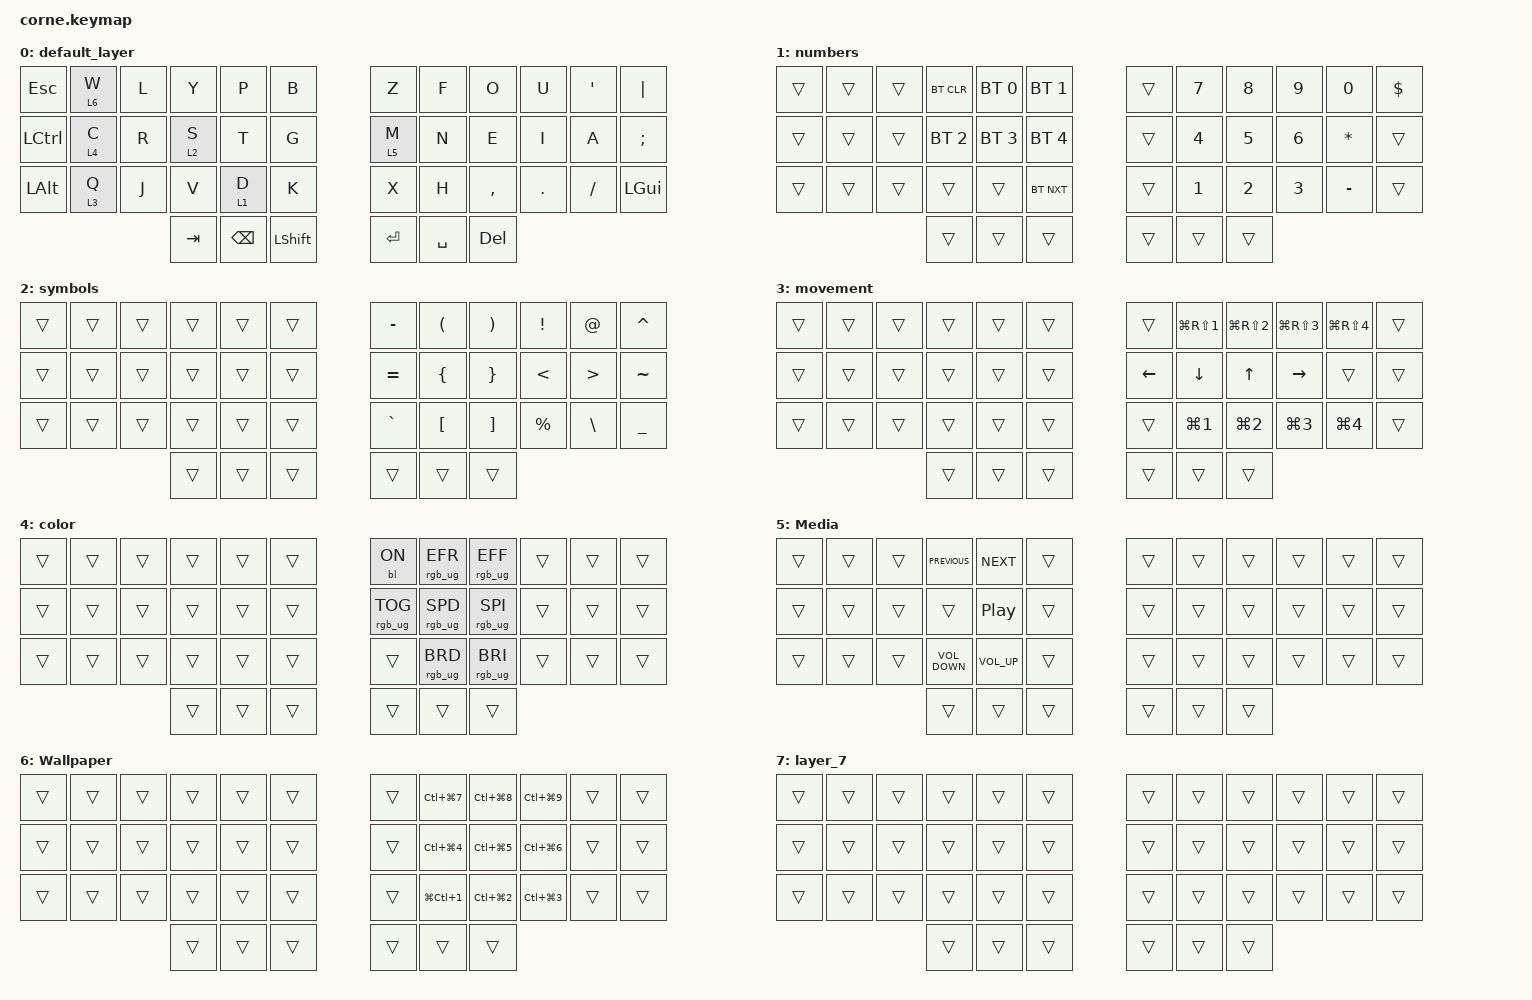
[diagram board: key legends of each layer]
/*
 * Copyright (c) 2020 The ZMK Contributors
 *
 * SPDX-License-Identifier: MIT
 */

#include <behaviors.dtsi>
#include <dt-bindings/zmk/backlight.h>
#include <dt-bindings/zmk/bt.h>
#include <dt-bindings/zmk/keys.h>
#include <dt-bindings/zmk/rgb.h>

&led_strip {
    chain-length = <27>;

    // 7 backlight + 2 glowlight
};

/ {
    keymap {
        compatible = "zmk,keymap";

        default_layer {
            // -----------------------------------------------------------------------------------------
            // |  TAB |  W  |  L  |  Y  |  P  |  B  |   |  Z  |  F   |  O  |  U  |  '  | BKSP |
            // | CTRL |  C  |  R  |  S  |  T  |  G  |   |  M  |  N   |  E  |  I  |  A  |  ;   |
            // | SHFT |  Q  |  J  |  V  |  D  |  K  |   |  X  |  H   |  ,  |  .  |  /  | ESC  |
            //                    | LWR | DEL | GUI |   | ENT | SPC  | ALT |

            bindings = <
&kp ESCAPE    &lt 6 W  &kp L  &kp Y    &kp P          &kp B             &kp Z      &kp F      &kp O       &kp U    &kp SQT   &kp PIPE
&kp LCTRL     &lt 4 C  &kp R  &lt 2 S  &kp T          &kp G             &lt 5 M    &kp N      &kp E       &kp I    &kp A     &kp SEMICOLON
&kp LEFT_ALT  &lt 3 Q  &kp J  &kp V    &lt 1 D        &kp K             &kp X      &kp H      &kp COMMA   &kp DOT  &kp FSLH  &kp LEFT_GUI
                              &kp TAB  &kp BACKSPACE  &kp LEFT_SHIFT    &kp ENTER  &kp SPACE  &kp DELETE
            >;
        };

        numbers {
            // -----------------------------------------------------------------------------------------
            // |  TAB |  1  |  2  |  3  |  4  |  5  |   |  6  |  7  |  8  |  9  |  0  | BKSP |
            // | BTCLR| BT1 | BT2 | BT3 | BT4 | BT5 |   | LFT |  4  |  5  |  6  |  *  |      |
            // | SHFT |     |     |     |     |     |   |     |  1  |  2  |  3  |     |      |
            //                    | GUI |     | SPC |   | ENT |     | ALT |

            bindings = <
&trans  &trans  &trans  &bt BT_CLR    &bt BT_SEL 0  &bt BT_SEL 1    &trans  &kp N7  &kp N8  &kp N9  &kp N0     &kp DOLLAR
&trans  &trans  &trans  &bt BT_SEL 2  &bt BT_SEL 3  &bt BT_SEL 4    &trans  &kp N4  &kp N5  &kp N6  &kp STAR   &trans
&trans  &trans  &trans  &trans        &trans        &bt BT_NXT      &trans  &kp N1  &kp N2  &kp N3  &kp MINUS  &trans
                        &trans        &trans        &trans          &trans  &trans  &trans
            >;
        };

        symbols {
            // -----------------------------------------------------------------------------------------
            // |  TAB |  !  |  @  |  #  |  $  |  %  |   |  ^  |  &  |  *  |  (  |  )  | BKSP |
            // | CTRL |     |     |     |     |     |   |  -  |  =  |  [  |  ]  |  \  |  `   |
            // | SHFT |     |     |     |     |     |   |  _  |  +  |  {  |  }  | "|" |  ~   |
            //                    | GUI |     | SPC |   | ENT |     | ALT |

            bindings = <
&trans  &trans  &trans  &trans  &trans  &trans    &kp MINUS  &kp LEFT_PARENTHESIS  &kp RIGHT_PARENTHESIS  &kp EXCL       &kp AT            &kp CARET
&trans  &trans  &trans  &trans  &trans  &trans    &kp EQUAL  &kp LEFT_BRACE        &kp RIGHT_BRACE        &kp LESS_THAN  &kp GREATER_THAN  &kp TILDE
&trans  &trans  &trans  &trans  &trans  &trans    &kp GRAVE  &kp LEFT_BRACKET      &kp RIGHT_BRACKET      &kp PERCENT    &kp BACKSLASH     &kp UNDER
                        &trans  &trans  &trans    &trans     &trans                &trans
            >;
        };

        movement {
            bindings = <
&trans  &trans  &trans  &trans  &trans  &trans    &trans          &kp LG(RS(NUMBER_1))  &kp LG(RS(NUMBER_2))  &kp LG(RS(NUMBER_3))  &kp LG(RS(NUMBER_4))  &trans
&trans  &trans  &trans  &trans  &trans  &trans    &kp LEFT_ARROW  &kp DOWN_ARROW        &kp UP_ARROW          &kp RIGHT             &trans                &trans
&trans  &trans  &trans  &trans  &trans  &trans    &trans          &kp LG(NUMBER_1)      &kp LG(NUMBER_2)      &kp LG(NUMBER_3)      &kp LG(NUMBER_4)      &trans
                        &trans  &trans  &trans    &trans          &trans                &trans
            >;
        };

        color {
            bindings = <
&trans  &trans  &trans  &trans  &trans  &trans    &bl BL_ON        &rgb_ug RGB_EFR  &rgb_ug RGB_EFF  &trans  &trans  &trans
&trans  &trans  &trans  &trans  &trans  &trans    &rgb_ug RGB_TOG  &rgb_ug RGB_SPD  &rgb_ug RGB_SPI  &trans  &trans  &trans
&trans  &trans  &trans  &trans  &trans  &trans    &trans           &rgb_ug RGB_BRD  &rgb_ug RGB_BRI  &trans  &trans  &trans
                        &trans  &trans  &trans    &trans           &trans           &trans
            >;
        };

        Media {
            bindings = <
&trans  &trans  &trans  &kp C_PREVIOUS     &kp C_NEXT        &trans    &trans  &trans  &trans  &trans  &trans  &trans
&trans  &trans  &trans  &trans             &kp C_PLAY_PAUSE  &trans    &trans  &trans  &trans  &trans  &trans  &trans
&trans  &trans  &trans  &kp C_VOLUME_DOWN  &kp C_VOLUME_UP   &trans    &trans  &trans  &trans  &trans  &trans  &trans
                        &trans             &trans            &trans    &trans  &trans  &trans
            >;
        };

        Wallpaper {
            bindings = <
&trans  &trans  &trans  &trans  &trans  &trans    &trans  &kp LC(LG(N7))        &kp LC(LG(N8))        &kp LC(LG(N9))        &trans  &trans
&trans  &trans  &trans  &trans  &trans  &trans    &trans  &kp LC(LG(NUMBER_4))  &kp LC(LG(N5))        &kp LC(LG(NUMBER_6))  &trans  &trans
&trans  &trans  &trans  &trans  &trans  &trans    &trans  &kp LG(LC(NUMBER_1))  &kp LC(LG(NUMBER_2))  &kp LC(LG(NUMBER_3))  &trans  &trans
                        &trans  &trans  &trans    &trans  &trans                &trans
            >;
        };

        layer_7 {
            bindings = <
&trans  &trans  &trans  &trans  &trans  &trans    &trans  &trans  &trans  &trans  &trans  &trans
&trans  &trans  &trans  &trans  &trans  &trans    &trans  &trans  &trans  &trans  &trans  &trans
&trans  &trans  &trans  &trans  &trans  &trans    &trans  &trans  &trans  &trans  &trans  &trans
                        &trans  &trans  &trans    &trans  &trans  &trans
            >;
        };
    };
};
